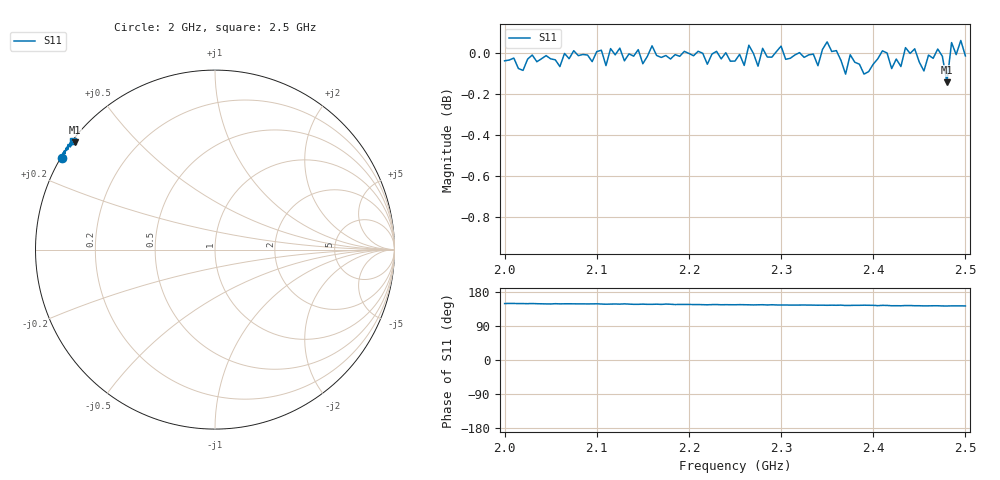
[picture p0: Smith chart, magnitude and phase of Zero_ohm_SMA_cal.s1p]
# HZ S RI R 50
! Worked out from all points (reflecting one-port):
!   101 points, 2 GHz to 2.5 GHz, reference 50 ohm
!   lowest |S11| = -0.1 dB at 2.48 GHz (marker M1), VSWR 121.52, Z = 0.459 + j16.9 ohm
!   phase of S11 starts at 149 deg and turns -6 deg over the sweep
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2e9  -0.8531 0.513
2.065e9  -0.8507 0.525
2.1e9  -0.8515 0.5256
2.11e9  -0.8346 0.5377
2.125e9  -0.8451 0.5393
2.13e9  -0.8454 0.5257
2.145e9  -0.8394 0.5466
2.15e9  -0.8375 0.5352
2.17e9  -0.8339 0.5472
2.175e9  -0.8428 0.5353
2.19e9  -0.8334 0.549
2.25e9  -0.8231 0.5597
2.28e9  -0.8298 0.5625
2.315e9  -0.8175 0.5738
2.35e9  -0.8177 0.5862
2.365e9  -0.8135 0.5741
2.37e9  -0.7977 0.5832
2.375e9  -0.8087 0.5863
2.39e9  -0.8058 0.572
2.405e9  -0.8005 0.5938
2.41e9  -0.8115 0.5861
2.43e9  -0.7935 0.5958
2.44e9  -0.8065 0.5906
2.455e9  -0.7884 0.5985
2.47e9  -0.8018 0.6011
2.48e9  -0.781 0.5981
2.485e9  -0.8015 0.6075
2.5e9  -0.7937 0.6054
